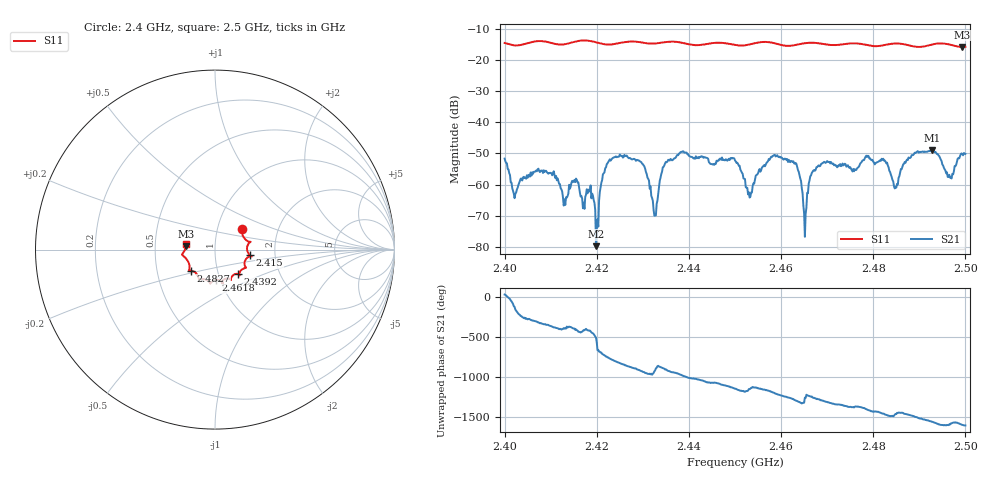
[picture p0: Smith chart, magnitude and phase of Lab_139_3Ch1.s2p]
# Hz S RI R 50
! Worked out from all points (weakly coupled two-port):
!   601 points, 2.4 GHz to 2.5 GHz, reference 50 ohm
!   highest |S21| = -48.84 dB at 2.4928 GHz (marker M1); lowest = -79.8 dB at 2.4198 GHz (marker M2)
!   lowest |S11| = -15.7 dB at 2.4993 GHz (marker M3), VSWR 1.39, Z = 36 + j1.44 ohm
!   |S11| at or under -10 dB: start of sweep to end of sweep
!   S12 and S22 are empty: the file has one direction only
!   S11 on the Smith chart (normalised r, x): 2.4 GHz: 1.31, +0.31; 2.415 GHz: 1.48, -0.10; 2.4392 GHz: 1.24, -0.35; 2.4618 GHz: 0.95, -0.34; 2.4827 GHz: 0.75, -0.18; 2.5 GHz: 0.72, +0.05
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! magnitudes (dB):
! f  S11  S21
! 2.4 GHz  -14.4  -51.6
! 2.4022 GHz  -15.2  -64.4
! 2.415 GHz  -14.1  -59.1
! 2.4167 GHz  -13.7  -63.7
! 2.4198 GHz  -14.2  -79.8
! 2.4217 GHz  -14.9  -56.1
! 2.4238 GHz  -14.8  -51.2
! 2.4333 GHz  -14.5  -63.0
! 2.4348 GHz  -14.2  -53.1
! 2.4392 GHz  -14.6  -49.7
! 2.45 GHz  -15.1  -52.2
! 2.4532 GHz  -14.9  -64.2
! 2.4618 GHz  -15.4  -52.6
! 2.4652 GHz  -14.5  -76.8
! 2.4667 GHz  -14.3  -56.3
! 2.4827 GHz  -15.0  -52.6
! 2.4833 GHz  -14.9  -54.5
! 2.4848 GHz  -14.6  -60.7
! 2.4928 GHz  -14.9  -48.8
! 2.4967 GHz  -15.0  -57.8
! 2.4993 GHz  -15.7  -50.2
! 2.5 GHz  -15.7  -50.1
